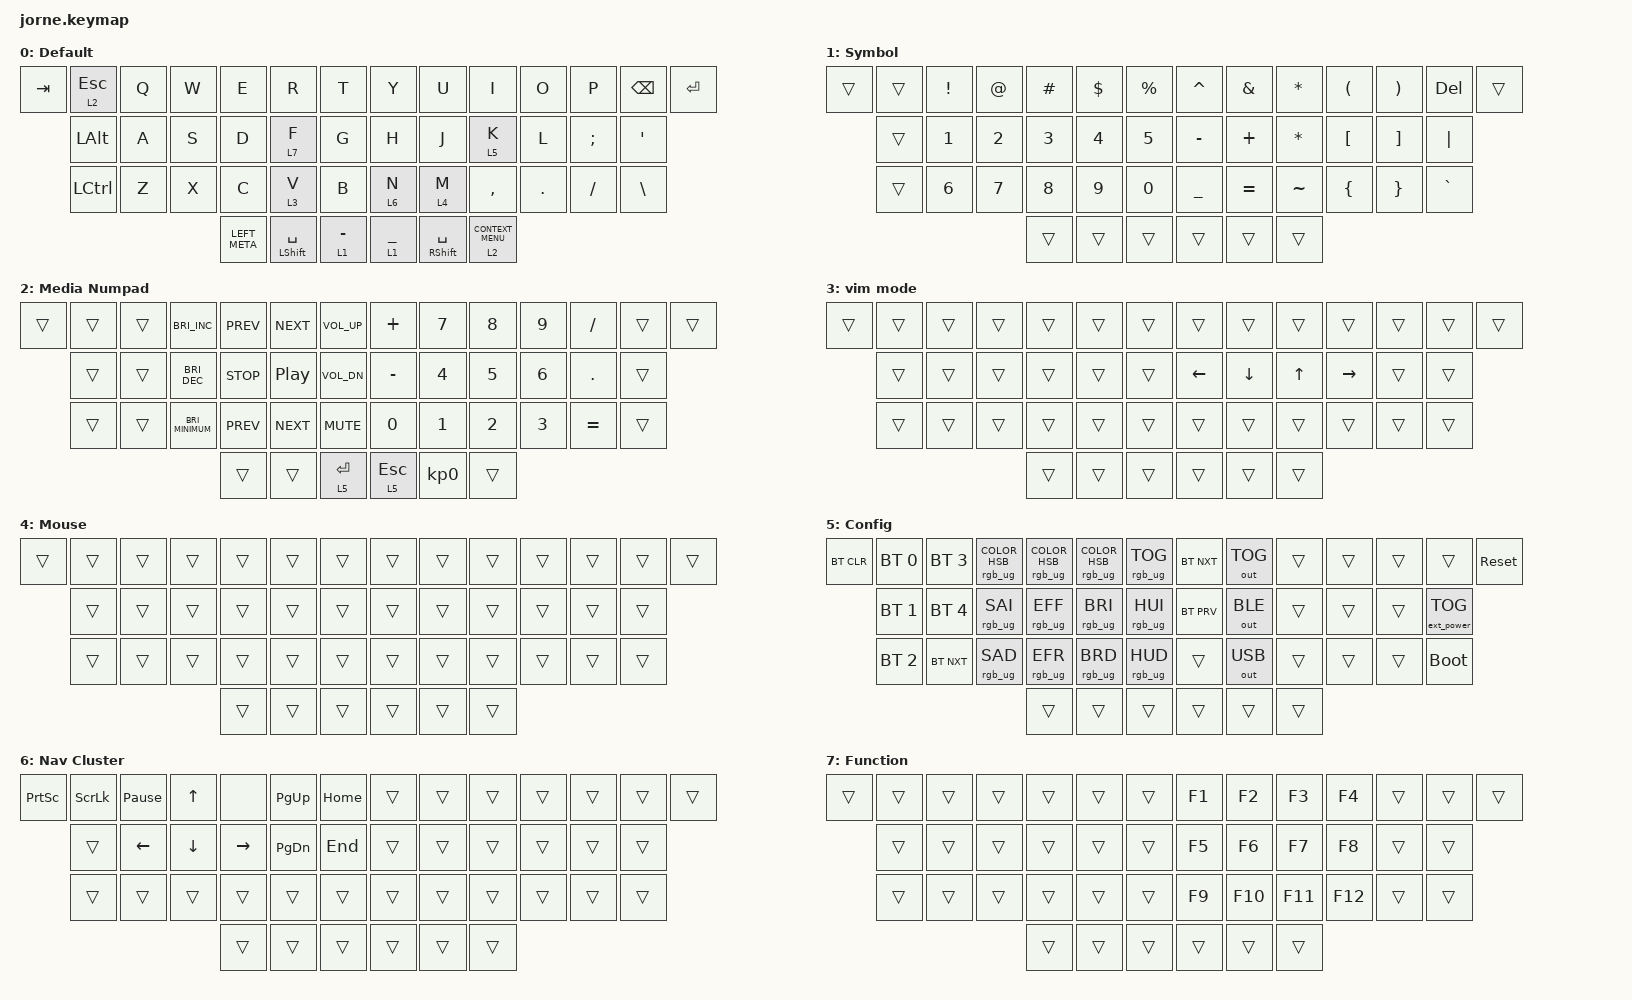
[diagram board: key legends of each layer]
/*
 * Copyright (c) 2020 The ZMK Contributors
 *
 * SPDX-License-Identifier: MIT
 */
/* THIS FILE WAS GENERATED!
 *
 * This file was generated automatically. You may or may not want to
 * edit it directly.
 */

#include <behaviors.dtsi>
#include <dt-bindings/zmk/bt.h>
#include <dt-bindings/zmk/ext_power.h>
#include <dt-bindings/zmk/keys.h>
#include <dt-bindings/zmk/outputs.h>
#include <dt-bindings/zmk/rgb.h>

&led_strip { chain-length = <28>; };

&mt {
    tapping-term-ms = <400>;
    flavor = "balanced";
};

/ {
    combos {
        compatible = "zmk,combos";

        Dual-Shift-Caps {
            bindings = <&kp CAPSLOCK>;
            key-positions = <39 42>;
        };
    };

    keymap {
        compatible = "zmk,keymap";

        default_layer {
            bindings = <
&kp TAB  &lt 2 ESCAPE  &kp Q  &kp W  &kp E          &kp R            &kp T        &kp Y             &kp U            &kp I                 &kp O    &kp P     &kp BACKSPACE     &kp ENTER
         &kp LEFT_ALT  &kp A  &kp S  &kp D          &lt 7 F          &kp G        &kp H             &kp J            &lt 5 K               &kp L    &kp SEMI  &kp SINGLE_QUOTE
         &kp LCTRL     &kp Z  &kp X  &kp C          &lt 3 V          &kp B        &lt 6 N           &lt 4 M          &kp COMMA             &kp DOT  &kp FSLH  &kp BSLH
                                     &kp LEFT_META  &mt LSHFT SPACE  &lt 1 MINUS  &lt 1 UNDERSCORE  &mt RSHFT SPACE  &lt 2 K_CONTEXT_MENU
            >;

            label = "Default";
        };

        symbol_layer {
            bindings = <
&trans  &trans  &kp EXCLAMATION  &kp AT_SIGN   &kp HASH      &kp DOLLAR    &kp PERCENT   &kp CARET       &kp AMPERSAND  &kp ASTERISK  &kp LEFT_PARENTHESIS  &kp RIGHT_PARENTHESIS  &kp DELETE  &trans
        &trans  &kp NUMBER_1     &kp NUMBER_2  &kp NUMBER_3  &kp NUMBER_4  &kp NUMBER_5  &kp MINUS       &kp PLUS       &kp STAR      &kp LEFT_BRACKET      &kp RIGHT_BRACKET      &kp PIPE
        &trans  &kp NUMBER_6     &kp NUMBER_7  &kp NUMBER_8  &kp NUMBER_9  &kp NUMBER_0  &kp UNDERSCORE  &kp EQUAL      &kp TILDE     &kp LEFT_BRACE        &kp RIGHT_BRACE        &kp GRAVE
                                               &trans        &trans        &trans        &trans          &trans         &trans
            >;

            label = "Symbol";
        };

        media_numpad_layer {
            bindings = <
&trans  &trans  &trans  &kp C_BRIGHTNESS_INC      &kp C_PREV  &kp C_NEXT        &kp C_VOLUME_UP  &kp PLUS      &kp NUMBER_7     &kp NUMBER_8  &kp NUMBER_9  &kp SLASH   &trans  &trans
        &trans  &trans  &kp C_BRIGHTNESS_DEC      &kp C_STOP  &kp C_PLAY_PAUSE  &kp C_VOL_DN     &kp MINUS     &kp NUMBER_4     &kp NUMBER_5  &kp NUMBER_6  &kp PERIOD  &trans
        &trans  &trans  &kp C_BRIGHTNESS_MINIMUM  &kp K_PREV  &kp K_NEXT        &kp C_MUTE       &kp NUMBER_0  &kp NUMBER_1     &kp NUMBER_2  &kp NUMBER_3  &kp EQUAL   &trans
                                                  &trans      &trans            &lt 5 RET        &lt 5 ESC     &kp KP_NUMBER_0  &trans
            >;

            label = "Media Numpad";
        };

        vim_layer {
            bindings = <
&trans  &trans  &trans  &trans  &trans  &trans  &trans  &trans          &trans          &trans        &trans           &trans  &trans  &trans
        &trans  &trans  &trans  &trans  &trans  &trans  &kp LEFT_ARROW  &kp DOWN_ARROW  &kp UP_ARROW  &kp RIGHT_ARROW  &trans  &trans
        &trans  &trans  &trans  &trans  &trans  &trans  &trans          &trans          &trans        &trans           &trans  &trans
                                &trans  &trans  &trans  &trans          &trans          &trans
            >;

            label = "vim mode";
        };

        mouse_layer {
            bindings = <
&trans  &trans  &trans  &trans  &trans  &trans  &trans  &trans  &trans  &trans  &trans  &trans  &trans  &trans
        &trans  &trans  &trans  &trans  &trans  &trans  &trans  &trans  &trans  &trans  &trans  &trans
        &trans  &trans  &trans  &trans  &trans  &trans  &trans  &trans  &trans  &trans  &trans  &trans
                                &trans  &trans  &trans  &trans  &trans  &trans
            >;

            label = "Mouse";
        };

        config_layer {
            bindings = <
&bt BT_CLR  &bt BT_SEL 0  &bt BT_SEL 3  &rgb_ug RGB_COLOR_HSB(241,100,50)  &rgb_ug RGB_COLOR_HSB(122,100,50)  &rgb_ug RGB_COLOR_HSB(0,100,50)  &rgb_ug RGB_TOG  &bt BT_NXT  &out OUT_TOG  &trans  &trans  &trans  &trans             &sys_reset
            &bt BT_SEL 1  &bt BT_SEL 4  &rgb_ug RGB_SAI                    &rgb_ug RGB_EFF                    &rgb_ug RGB_BRI                  &rgb_ug RGB_HUI  &bt BT_PRV  &out OUT_BLE  &trans  &trans  &trans  &ext_power EP_TOG
            &bt BT_SEL 2  &bt BT_NXT    &rgb_ug RGB_SAD                    &rgb_ug RGB_EFR                    &rgb_ug RGB_BRD                  &rgb_ug RGB_HUD  &trans      &out OUT_USB  &trans  &trans  &trans  &bootloader
                                                                           &trans                             &trans                           &trans           &trans      &trans        &trans
            >;

            label = "Config";
        };

        nav_layer {
            bindings = <
&kp PRINTSCREEN  &kp SCROLLLOCK  &kp PAUSE_BREAK  &kp UP_ARROW    &none            &kp PAGE_UP    &kp HOME  &trans  &trans  &trans  &trans  &trans  &trans  &trans
                 &trans          &kp LEFT_ARROW   &kp DOWN_ARROW  &kp RIGHT_ARROW  &kp PAGE_DOWN  &kp END   &trans  &trans  &trans  &trans  &trans  &trans
                 &trans          &trans           &trans          &trans           &trans         &trans    &trans  &trans  &trans  &trans  &trans  &trans
                                                                  &trans           &trans         &trans    &trans  &trans  &trans
            >;

            label = "Nav Cluster";
        };

        func_layer {
            bindings = <
&trans  &trans  &trans  &trans  &trans  &trans  &trans  &kp F1  &kp F2   &kp F3   &kp F4   &trans  &trans  &trans
        &trans  &trans  &trans  &trans  &trans  &trans  &kp F5  &kp F6   &kp F7   &kp F8   &trans  &trans
        &trans  &trans  &trans  &trans  &trans  &trans  &kp F9  &kp F10  &kp F11  &kp F12  &trans  &trans
                                &trans  &trans  &trans  &trans  &trans   &trans
            >;

            label = "Function";
        };
    };
};
